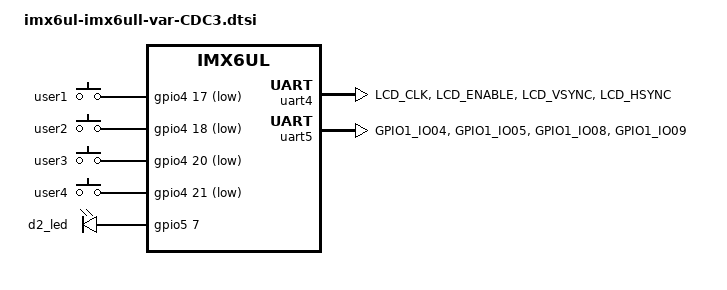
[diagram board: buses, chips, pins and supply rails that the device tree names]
/* Definitions for DART 6UL moudule used on
 * custom Cool Data Controller 3 (CDC3)
 * Ice Energy Holdings Inc. 2019-10-30 
 */

/* The following definitions need to be set to disabled
 * in their associated dtsi file to allow these definition
 * to take affect. 
 */

     
/ {

	keys-cdc3 {
		status = "okay"; 
		compatible = "gpio-keys";
		pinctrl-names = "default";
		pinctrl-0 = <&pinctrl_gpio_cdc3_keys>;

		user1 {
			gpios = <&gpio4 17 GPIO_ACTIVE_LOW>;
			linux,code = <KEY_MENU>;
			gpio-key,key-menu;
		};

		user2 {
			gpios = <&gpio4 18 GPIO_ACTIVE_LOW>;
			linux,code = <KEY_UP>;
			gpio-key,key-up;
		};

		user3 {
			gpios = <&gpio4 20 GPIO_ACTIVE_LOW>;
			linux,code = <KEY_DOWN>;
			gpio-key,key-down;
		};

		user4 {
			gpios = <&gpio4 21 GPIO_ACTIVE_LOW>;
			linux,code = <KEY_ENTER>;
			gpio-key,key-enter;
		};
	};

	leds {
		status = "okay";
		compatible = "gpio-leds";
		pinctrl-names = "default";
		pinctrl-0 = <&pinctrl_gpio_leds>;

		d2_led {
			gpios = <&gpio5 7 GPIO_ACTIVE_HIGH>;
			linux,default-trigger = "heartbeat";
		};
	};
};

&iomuxc {
	pinctrl_gpio_cdc3_keys: gpio_cdc3_keysgrp {
		fsl,pins = <
			MX6UL_PAD_CSI_MCLK__GPIO4_IO17		0x0f000 /* MENU Button  */
			MX6UL_PAD_CSI_PIXCLK__GPIO4_IO18	0x0f000 /* UP Button    */
			MX6UL_PAD_CSI_HSYNC__GPIO4_IO20		0x0f000 /* DOWN Button  */
			MX6UL_PAD_CSI_DATA00__GPIO4_IO21	0x0f000 /* ENTER Button */
		>;
	};

	pinctrl_gpio_leds: gpio_ledsgrp {
		fsl,pins = <
			MX6ULL_PAD_SNVS_TAMPER7__GPIO5_IO07	0x1b0b0 /* HB LED      */
		>;
	};

	pinctrl_uart4: uart4grp {
		fsl,pins = <
			MX6UL_PAD_LCD_CLK__UART4_DCE_TX		0x1b0b1
			MX6UL_PAD_LCD_ENABLE__UART4_DCE_RX	0x1b0b1
			MX6UL_PAD_LCD_VSYNC__UART4_DCE_RTS	0x1b0b1
			MX6UL_PAD_LCD_HSYNC__UART4_DCE_CTS	0x1b0b1
		>;
	};

	pinctrl_uart5: uart5grp {
		fsl,pins = <
			MX6UL_PAD_GPIO1_IO04__UART5_DCE_TX	0x1b0b1
			MX6UL_PAD_GPIO1_IO05__UART5_DCE_RX	0x1b0b1
			MX6UL_PAD_GPIO1_IO08__UART5_DCE_RTS	0x1b0b1
			MX6UL_PAD_GPIO1_IO09__UART5_DCE_CTS	0x1b0b1
		>;
	};
/*
	pinctrl_pwm1: pwm1grp {
		fsl,pins = <
			MX6UL_PAD_LCD_DATA00__PWM1_OUT		0x110b0
		>;
	};

*/
};

/* COMS to CTRL UART */
&uart4 {
	pinctrl-names = "default";
	pinctrl-0 = <&pinctrl_uart4>;
	fsl,uart-has-rtscts;
	status = "okay";
};

/* RS485 UART */
&uart5 {
	pinctrl-names = "default";
	pinctrl-0 = <&pinctrl_uart5>;
	fsl,uart-has-rtscts;
	status = "okay";
};

